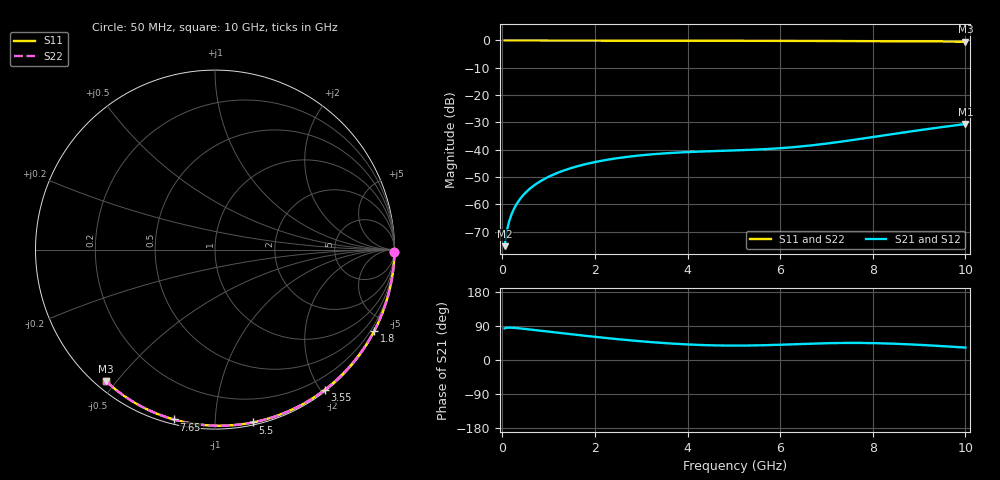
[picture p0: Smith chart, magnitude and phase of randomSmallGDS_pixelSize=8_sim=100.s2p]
! freq	dB(S11)	phase(S11)	dB(S12)	phase(S12)
!  dB(S21)	phase(S21)	dB(S22)	phase(S22)
!S-par simulation data
#  GHz  S  DB  R 50
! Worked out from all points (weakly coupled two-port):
!   200 points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, 50 MHz to 10 GHz, reference 50 ohm
!   highest |S21| = -30.61 dB at 10 GHz (marker M1); lowest = -75.4 dB at 50 MHz (marker M2)
!   lowest |S11| = -0.4 dB at 10 GHz (marker M3), VSWR 40.41, Z = 1.51 - j23.4 ohm
!   |S11| at or under -10 dB: nowhere
!   |S22| runs from -0.4 to 0.0 dB; largest |S21 - S12| = 0
!   S11 on the Smith chart (normalised r, x): 50 MHz: open; 1.8 GHz: 0.04, -4.18; 3.55 GHz: 0.02, -2.06; 5.5 GHz: 0.02, -1.24; 7.65 GHz: 0.02, -0.79; 10 GHz: 0.03, -0.47
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0.05  -0.00 -0.8  -75.36 83.5  -75.36 83.5  -0.00 -0.8
0.1  -0.00 -1.5  -69.61 85.2  -69.61 85.2  -0.00 -1.5
0.15  -0.00 -2.3  -66.15 85.5  -66.15 85.5  -0.00 -2.3
0.2  -0.00 -3.0  -63.68 85.3  -63.68 85.3  -0.00 -3.0
0.25  -0.00 -3.8  -61.76 84.9  -61.76 84.9  -0.00 -3.8
0.35  -0.00 -5.3  -58.86 83.8  -58.86 83.8  -0.00 -5.3
0.5  -0.01 -7.6  -55.79 81.8  -55.79 81.8  -0.01 -7.6
0.7  -0.01 -10.6  -52.92 79.1  -52.92 79.1  -0.01 -10.6
1  -0.02 -15.1  -49.93 74.8  -49.93 74.8  -0.02 -15.1
1.35  -0.03 -20.3  -47.50 69.9  -47.50 69.9  -0.03 -20.3
1.75  -0.03 -26.2  -45.51 64.4  -45.51 64.4  -0.03 -26.2
1.8  -0.03 -26.9  -45.31 63.7  -45.31 63.7  -0.03 -26.9
2.5  -0.05 -37.1  -43.08 54.9  -43.08 54.9  -0.05 -37.1
3.4  -0.07 -49.8  -41.48 45.5  -41.48 45.5  -0.07 -49.8
3.55  -0.07 -51.9  -41.31 44.2  -41.31 44.2  -0.07 -51.9
4.3  -0.09 -62.1  -40.68 39.5  -40.68 39.5  -0.09 -62.1
5.05  -0.11 -71.9  -40.26 38.0  -40.26 38.0  -0.11 -71.9
5.5  -0.12 -77.7  -39.96 38.6  -39.96 38.6  -0.12 -77.7
6.7  -0.18 -92.4  -38.39 43.3  -38.39 43.3  -0.18 -92.4
7.65  -0.23 -103.6  -36.26 45.1  -36.26 45.1  -0.23 -103.6
8.35  -0.28 -111.6  -34.49 43.4  -34.49 43.4  -0.28 -111.6
10  -0.43 -129.8  -30.61 32.8  -30.61 32.8  -0.43 -129.8
